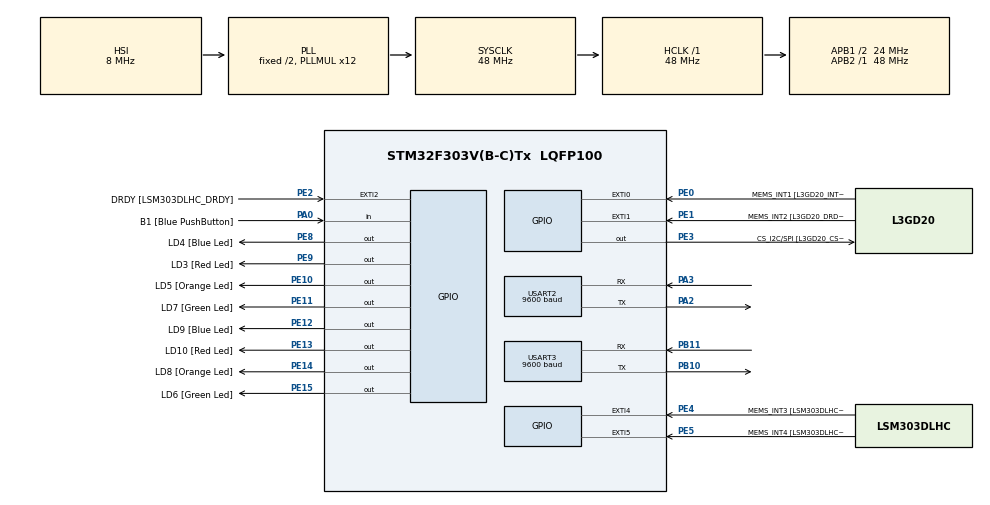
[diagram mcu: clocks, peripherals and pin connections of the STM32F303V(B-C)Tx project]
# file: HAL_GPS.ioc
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Mcu.Family=STM32F3
Mcu.Name=STM32F303V(B-C)Tx
Mcu.Package=LQFP100
NVIC.PriorityGroup=NVIC_PRIORITYGROUP_4
NVIC.USART2_IRQn=true\:2\:0\:true\:false\:true\:true\:true\:true
NVIC.USART3_IRQn=true\:2\:0\:true\:false\:true\:true\:true\:true
PA0.GPIO_Label=B1 [Blue PushButton]
PA0.GPIO_Mode=GPIO_MODE_INPUT
PA0.GPIO_PuPd=GPIO_NOPULL
PA0.Signal=GPIO_Input
PA11.GPIO_Label=DM
PA11.Signal=USB_DM
PA12.GPIO_Label=DP
PA12.Signal=USB_DP
PA13.GPIO_Label=SWDIO
PA13.Signal=SYS_JTMS-SWDIO
PA14.GPIO_Label=SWCLK
PA14.Signal=SYS_JTCK-SWCLK
PA2.Mode=Asynchronous
PA2.Signal=USART2_TX
PA3.Mode=Asynchronous
PA3.Signal=USART2_RX
PA5.GPIO_Label=SPI1_SCK [L3GD20_SCL/SPC]
PA5.GPIO_Mode=GPIO_MODE_AF_PP
PA5.GPIO_PuPd=GPIO_NOPULL
PA5.GPIO_Speed=GPIO_SPEED_FREQ_LOW
PA5.Signal=SPI1_SCK
PA6.GPIO_Label=SPI1_MISO [L3GD20_SA0/SDO]
PA6.GPIO_Mode=GPIO_MODE_AF_PP
PA6.GPIO_PuPd=GPIO_NOPULL
PA6.GPIO_Speed=GPIO_SPEED_FREQ_LOW
PA6.Signal=SPI1_MISO
PA7.GPIO_Label=SPI1_MISO [L3GD20_SDA/SDI/SDO]
PA7.GPIO_Mode=GPIO_MODE_AF_PP
PA7.GPIO_PuPd=GPIO_NOPULL
PA7.GPIO_Speed=GPIO_SPEED_FREQ_LOW
PA7.Signal=SPI1_MOSI
PB10.GPIO_PuPd=GPIO_PULLDOWN
PB10.Mode=Asynchronous
PB10.Signal=USART3_TX
PB11.GPIO_PuPd=GPIO_PULLDOWN
PB11.Mode=Asynchronous
PB11.Signal=USART3_RX
PB3.GPIO_Label=SWO
PB3.Signal=SYS_JTDO-TRACESWO
PB6.GPIO_FM6=__NULL
PB6.GPIO_Label=I2C1_SCL [LSM303DLHC_SCL]
PB6.GPIO_Mode=GPIO_MODE_AF_OD
PB6.GPIO_PuPd=GPIO_NOPULL
PB6.GPIO_Speed=GPIO_SPEED_FREQ_LOW
PB6.Signal=I2C1_SCL
PB7.GPIO_FM7=__NULL
PB7.GPIO_Label=I2C1_SDA [LSM303DLHC_SDA]
PB7.GPIO_Mode=GPIO_MODE_AF_OD
PB7.GPIO_PuPd=GPIO_NOPULL
PB7.GPIO_Speed=GPIO_SPEED_FREQ_LOW
PB7.Signal=I2C1_SDA
PC14-OSC32_IN.GPIO_Label=OSC32_IN
PC14-OSC32_IN.Signal=RCC_OSC32_IN
PC15-OSC32_OUT.GPIO_Label=OSC32_OUT
PC15-OSC32_OUT.Signal=RCC_OSC32_OUT
PE0.GPIO_Label=MEMS_INT1 [L3GD20_INT1]
PE0.GPIO_ModeDefaultEXTI=GPIO_MODE_EVT_RISING
PE0.GPIO_PuPd=GPIO_NOPULL
PE0.Signal=GPXTI0
PE1.GPIO_Label=MEMS_INT2 [L3GD20_DRDY/INT2]
PE1.GPIO_ModeDefaultEXTI=GPIO_MODE_EVT_RISING
PE1.GPIO_PuPd=GPIO_NOPULL
PE1.Signal=GPXTI1
PE10.GPIO_Label=LD5 [Orange Led]
PE10.GPIO_ModeDefaultOutputPP=GPIO_MODE_OUTPUT_PP
PE10.GPIO_PuPd=GPIO_NOPULL
PE10.GPIO_Speed=GPIO_SPEED_FREQ_LOW
PE10.Signal=GPIO_Output
PE11.GPIO_Label=LD7 [Green Led]
PE11.GPIO_ModeDefaultOutputPP=GPIO_MODE_OUTPUT_PP
PE11.GPIO_PuPd=GPIO_NOPULL
PE11.GPIO_Speed=GPIO_SPEED_FREQ_LOW
PE11.Signal=GPIO_Output
PE12.GPIO_Label=LD9 [Blue Led]
PE12.GPIO_ModeDefaultOutputPP=GPIO_MODE_OUTPUT_PP
PE12.GPIO_PuPd=GPIO_NOPULL
PE12.GPIO_Speed=GPIO_SPEED_FREQ_LOW
PE12.Signal=GPIO_Output
PE13.GPIO_Label=LD10 [Red Led]
PE13.GPIO_ModeDefaultOutputPP=GPIO_MODE_OUTPUT_PP
PE13.GPIO_PuPd=GPIO_NOPULL
PE13.GPIO_Speed=GPIO_SPEED_FREQ_LOW
PE13.Signal=GPIO_Output
PE14.GPIO_Label=LD8 [Orange Led]
PE14.GPIO_ModeDefaultOutputPP=GPIO_MODE_OUTPUT_PP
PE14.GPIO_PuPd=GPIO_NOPULL
PE14.GPIO_Speed=GPIO_SPEED_FREQ_LOW
PE14.Signal=GPIO_Output
PE15.GPIO_Label=LD6 [Green Led]
PE15.GPIO_ModeDefaultOutputPP=GPIO_MODE_OUTPUT_PP
PE15.GPIO_PuPd=GPIO_NOPULL
PE15.GPIO_Speed=GPIO_SPEED_FREQ_LOW
PE15.Signal=GPIO_Output
PE2.GPIO_Label=DRDY [LSM303DLHC_DRDY]
PE2.GPIO_ModeDefaultEXTI=GPIO_MODE_EVT_RISING
PE2.GPIO_PuPd=GPIO_NOPULL
PE2.Signal=GPXTI2
PE3.GPIO_Label=CS_I2C/SPI [L3GD20_CS_I2C/SPI]
PE3.GPIO_ModeDefaultOutputPP=GPIO_MODE_OUTPUT_PP
PE3.GPIO_PuPd=GPIO_NOPULL
PE3.GPIO_Speed=GPIO_SPEED_FREQ_LOW
PE3.Signal=GPIO_Output
PE4.GPIO_Label=MEMS_INT3 [LSM303DLHC_INT1]
PE4.GPIO_ModeDefaultEXTI=GPIO_MODE_EVT_RISING
PE4.GPIO_PuPd=GPIO_NOPULL
PE4.Signal=GPXTI4
PE5.GPIO_Label=MEMS_INT4 [LSM303DLHC_INT2]
PE5.GPIO_ModeDefaultEXTI=GPIO_MODE_EVT_RISING
PE5.GPIO_PuPd=GPIO_NOPULL
PE5.Signal=GPXTI5
PE8.GPIO_Label=LD4 [Blue Led]
PE8.GPIO_ModeDefaultOutputPP=GPIO_MODE_OUTPUT_PP
PE8.GPIO_PuPd=GPIO_NOPULL
PE8.GPIO_Speed=GPIO_SPEED_FREQ_LOW
PE8.Signal=GPIO_Output
PE9.GPIO_Label=LD3 [Red Led]
PE9.GPIO_ModeDefaultOutputPP=GPIO_MODE_OUTPUT_PP
PE9.GPIO_PuPd=GPIO_NOPULL
PE9.GPIO_Speed=GPIO_SPEED_FREQ_LOW
PE9.Signal=GPIO_Output
PF0-OSC_IN.GPIO_Label=OSC_IN
PF0-OSC_IN.Signal=RCC_OSC_IN
PF1-OSC_OUT.GPIO_Label=OSC_OUT
PF1-OSC_OUT.Signal=RCC_OSC_OUT
ProjectManager.HeapSize=0x200
ProjectManager.StackSize=0x400
ProjectManager.TargetToolchain=STM32CubeIDE
RCC.AHBFreq_Value=48000000
RCC.APB1CLKDivider=RCC_HCLK_DIV2
RCC.APB1Freq_Value=24000000
RCC.APB1TimFreq_Value=48000000
RCC.APB2Freq_Value=48000000
RCC.APB2TimFreq_Value=48000000
RCC.CortexFreq_Value=48000000
RCC.HCLKFreq_Value=48000000
RCC.HSE_VALUE=8000000
RCC.HSI_VALUE=8000000
RCC.LSE_VALUE=32768
RCC.PLLMUL=RCC_PLL_MUL12
RCC.SYSCLKFreq_VALUE=48000000
RCC.SYSCLKSourceVirtual=RCC_SYSCLKSOURCE_PLLCLK
RCC.USBFreq_Value=48000000
USART2.BaudRate=9600
USART2.VirtualMode-Asynchronous=VM_ASYNC
USART3.BaudRate=9600
USART3.VirtualMode-Asynchronous=VM_ASYNC
board=STM32F3DISCOVERY

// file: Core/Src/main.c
/* USER CODE BEGIN Header */
/**
  ******************************************************************************
  * @file           : main.c
  * @brief          : Main program body
  ******************************************************************************
  * @attention
  *
  * Copyright (c) 2023 STMicroelectronics.
  * All rights reserved.
  *
  * This software is licensed under terms that can be found in the LICENSE file
  * in the root directory of this software component.
  * If no LICENSE file comes with this software, it is provided AS-IS.
  *
  ******************************************************************************
  */
/* USER CODE END Header */
#include "main.h"

/* USER CODE BEGIN PD */

// SET UP TIMEZONE AND TURN ON INTERNAL PRINTING
#define DEBUG_PRINT
#define TIMEZONE 1

/* USER CODE END PD */

UART_HandleTypeDef huart2;
UART_HandleTypeDef huart3;

/* USER CODE BEGIN PV */
uint8_t buffor_USART2 [5];
uint8_t buffor_USART3 [10];
uint8_t rec_buff[500];

volatile GPS_Position_Data_t position;

/* USER CODE END PV */

void SystemClock_Config(void);
static void MX_GPIO_Init(void);
static void MX_USART3_UART_Init(void);
static void MX_USART2_UART_Init(void);
/* USER CODE BEGIN PFP */
void HAL_UART_RxCpltCallback(UART_HandleTypeDef *huart);
/* USER CODE END PFP */

int main(void)
{

  /* MCU Configuration--------------------------------------------------------*/

  /* Reset of all peripherals, Initializes the Flash interface and the Systick. */
  HAL_Init();

  /* Configure the system clock */
  SystemClock_Config();

  /* Initialize all configured peripherals */
  MX_GPIO_Init();
  MX_USART3_UART_Init();
  MX_USART2_UART_Init();
  /* USER CODE BEGIN 2 */

  /*
   * USART2 = communication with PERIPHERAL
   * PA3 = RX
   * PA2 = TX
   *
   * USART3 = communication with USER
   * PB11 = RX
   * PB10 = TX
   */

  // IT every char received
  HAL_UART_Receive_IT(&huart3, buffor_USART3, 1);
  HAL_UART_Receive_IT(&huart2, buffor_USART2, 1);

  // turn ON working LED and send hello text
  HAL_GPIO_WritePin(GPIOE, GPIO_PIN_8, ENABLE);
  const char * welcome_text = "\nProgram is working\n";
  HAL_UART_Transmit(&huart3, (uint8_t*)welcome_text, strlen(welcome_text), 100);

  /* USER CODE END 2 */

  /* Infinite loop */
  while (1)
  {
	  if(position.Latitude_deg != 0)
	  {

#if defined(DEBUG_PRINT)
		printf("Position: %d.%ld", position.Latitude_deg, position.Latitude_minINdegrees);
		printf(" %d.%ld", position.Longtitude_deg, position.Longtitude_minINdegrees);
		printf(" TIME: %02d:%02d:%02d\n", (position.Time.hours + TIMEZONE), position.Time.minutes, position.Time.seconds);
#endif
		HAL_GPIO_TogglePin(GPIOE, GPIO_PIN_10);
		HAL_GPIO_TogglePin(GPIOE, GPIO_PIN_11);
		position.Latitude_deg = 0;
	  }
  }
}

void SystemClock_Config(void)
{
  RCC_OscInitTypeDef RCC_OscInitStruct = {0};
  RCC_ClkInitTypeDef RCC_ClkInitStruct = {0};
  RCC_PeriphCLKInitTypeDef PeriphClkInit = {0};

  /** Initializes the RCC Oscillators according to the specified parameters
  * in the RCC_OscInitTypeDef structure.
  */
  RCC_OscInitStruct.OscillatorType = RCC_OSCILLATORTYPE_HSI;
  RCC_OscInitStruct.HSIState = RCC_HSI_ON;
  RCC_OscInitStruct.HSICalibrationValue = RCC_HSICALIBRATION_DEFAULT;
  RCC_OscInitStruct.PLL.PLLState = RCC_PLL_ON;
  RCC_OscInitStruct.PLL.PLLSource = RCC_PLLSOURCE_HSI;
  RCC_OscInitStruct.PLL.PLLMUL = RCC_PLL_MUL12;
  if (HAL_RCC_OscConfig(&RCC_OscInitStruct) != HAL_OK)
  {
    Error_Handler();
  }

  /** Initializes the CPU, AHB and APB buses clocks
  */
  RCC_ClkInitStruct.ClockType = RCC_CLOCKTYPE_HCLK|RCC_CLOCKTYPE_SYSCLK
                              |RCC_CLOCKTYPE_PCLK1|RCC_CLOCKTYPE_PCLK2;
  RCC_ClkInitStruct.SYSCLKSource = RCC_SYSCLKSOURCE_PLLCLK;
  RCC_ClkInitStruct.AHBCLKDivider = RCC_SYSCLK_DIV1;
  RCC_ClkInitStruct.APB1CLKDivider = RCC_HCLK_DIV2;
  RCC_ClkInitStruct.APB2CLKDivider = RCC_HCLK_DIV1;

  if (HAL_RCC_ClockConfig(&RCC_ClkInitStruct, FLASH_LATENCY_1) != HAL_OK)
  {
    Error_Handler();
  }
  PeriphClkInit.PeriphClockSelection = RCC_PERIPHCLK_USART2|RCC_PERIPHCLK_USART3;
  PeriphClkInit.Usart2ClockSelection = RCC_USART2CLKSOURCE_PCLK1;
  PeriphClkInit.Usart3ClockSelection = RCC_USART3CLKSOURCE_PCLK1;
  if (HAL_RCCEx_PeriphCLKConfig(&PeriphClkInit) != HAL_OK)
  {
    Error_Handler();
  }
}

static void MX_USART2_UART_Init(void)
{

  huart2.Instance = USART2;
  huart2.Init.BaudRate = 9600;
  huart2.Init.WordLength = UART_WORDLENGTH_8B;
  huart2.Init.StopBits = UART_STOPBITS_1;
  huart2.Init.Parity = UART_PARITY_NONE;
  huart2.Init.Mode = UART_MODE_TX_RX;
  huart2.Init.HwFlowCtl = UART_HWCONTROL_NONE;
  huart2.Init.OverSampling = UART_OVERSAMPLING_16;
  huart2.Init.OneBitSampling = UART_ONE_BIT_SAMPLE_DISABLE;
  huart2.AdvancedInit.AdvFeatureInit = UART_ADVFEATURE_NO_INIT;
  if (HAL_UART_Init(&huart2) != HAL_OK)
  {
    Error_Handler();
  }

}

static void MX_USART3_UART_Init(void)
{

  huart3.Instance = USART3;
  huart3.Init.BaudRate = 9600;
  huart3.Init.WordLength = UART_WORDLENGTH_8B;
  huart3.Init.StopBits = UART_STOPBITS_1;
  huart3.Init.Parity = UART_PARITY_NONE;
  huart3.Init.Mode = UART_MODE_TX_RX;
  huart3.Init.HwFlowCtl = UART_HWCONTROL_NONE;
  huart3.Init.OverSampling = UART_OVERSAMPLING_16;
  huart3.Init.OneBitSampling = UART_ONE_BIT_SAMPLE_DISABLE;
  huart3.AdvancedInit.AdvFeatureInit = UART_ADVFEATURE_NO_INIT;
  if (HAL_UART_Init(&huart3) != HAL_OK)
  {
    Error_Handler();
  }

}

static void MX_GPIO_Init(void)
{
  GPIO_InitTypeDef GPIO_InitStruct = {0};

  /* GPIO Ports Clock Enable */
  __HAL_RCC_GPIOE_CLK_ENABLE();
  __HAL_RCC_GPIOC_CLK_ENABLE();
  __HAL_RCC_GPIOF_CLK_ENABLE();
  __HAL_RCC_GPIOA_CLK_ENABLE();
  __HAL_RCC_GPIOB_CLK_ENABLE();

  /*Configure GPIO pin Output Level */
  HAL_GPIO_WritePin(GPIOE, CS_I2C_SPI_Pin|LD4_Pin|LD3_Pin|LD5_Pin
                          |LD7_Pin|LD9_Pin|LD10_Pin|LD8_Pin
                          |LD6_Pin, GPIO_PIN_RESET);

  /*Configure GPIO pins : DRDY_Pin MEMS_INT3_Pin MEMS_INT4_Pin MEMS_INT1_Pin
                           MEMS_INT2_Pin */
  GPIO_InitStruct.Pin = DRDY_Pin|MEMS_INT3_Pin|MEMS_INT4_Pin|MEMS_INT1_Pin
                          |MEMS_INT2_Pin;
  GPIO_InitStruct.Mode = GPIO_MODE_EVT_RISING;
  GPIO_InitStruct.Pull = GPIO_NOPULL;
  HAL_GPIO_Init(GPIOE, &GPIO_InitStruct);

  /*Configure GPIO pins : CS_I2C_SPI_Pin LD4_Pin LD3_Pin LD5_Pin
                           LD7_Pin LD9_Pin LD10_Pin LD8_Pin
                           LD6_Pin */
  GPIO_InitStruct.Pin = CS_I2C_SPI_Pin|LD4_Pin|LD3_Pin|LD5_Pin
                          |LD7_Pin|LD9_Pin|LD10_Pin|LD8_Pin
                          |LD6_Pin;
  GPIO_InitStruct.Mode = GPIO_MODE_OUTPUT_PP;
  GPIO_InitStruct.Pull = GPIO_NOPULL;
  GPIO_InitStruct.Speed = GPIO_SPEED_FREQ_LOW;
  HAL_GPIO_Init(GPIOE, &GPIO_InitStruct);

  /*Configure GPIO pin : B1_Pin */
  GPIO_InitStruct.Pin = B1_Pin;
  GPIO_InitStruct.Mode = GPIO_MODE_INPUT;
  GPIO_InitStruct.Pull = GPIO_NOPULL;
  HAL_GPIO_Init(B1_GPIO_Port, &GPIO_InitStruct);

  /*Configure GPIO pins : SPI1_SCK_Pin SPI1_MISO_Pin SPI1_MISOA7_Pin */
  GPIO_InitStruct.Pin = SPI1_SCK_Pin|SPI1_MISO_Pin|SPI1_MISOA7_Pin;
  GPIO_InitStruct.Mode = GPIO_MODE_AF_PP;
  GPIO_InitStruct.Pull = GPIO_NOPULL;
  GPIO_InitStruct.Speed = GPIO_SPEED_FREQ_LOW;
  GPIO_InitStruct.Alternate = GPIO_AF5_SPI1;
  HAL_GPIO_Init(GPIOA, &GPIO_InitStruct);

  /*Configure GPIO pins : DM_Pin DP_Pin */
  GPIO_InitStruct.Pin = DM_Pin|DP_Pin;
  GPIO_InitStruct.Mode = GPIO_MODE_AF_PP;
  GPIO_InitStruct.Pull = GPIO_NOPULL;
  GPIO_InitStruct.Speed = GPIO_SPEED_FREQ_HIGH;
  GPIO_InitStruct.Alternate = GPIO_AF14_USB;
  HAL_GPIO_Init(GPIOA, &GPIO_InitStruct);

  /*Configure GPIO pins : I2C1_SCL_Pin I2C1_SDA_Pin */
  GPIO_InitStruct.Pin = I2C1_SCL_Pin|I2C1_SDA_Pin;
  GPIO_InitStruct.Mode = GPIO_MODE_AF_OD;
  GPIO_InitStruct.Pull = GPIO_NOPULL;
  GPIO_InitStruct.Speed = GPIO_SPEED_FREQ_LOW;
  GPIO_InitStruct.Alternate = GPIO_AF4_I2C1;
  HAL_GPIO_Init(GPIOB, &GPIO_InitStruct);

}

/* USER CODE BEGIN 4 */
void HAL_UART_RxCpltCallback(UART_HandleTypeDef *huart)
{
	static uint8_t rec_status = 0;
	/////////////////////////////////// bridge between UART2 <====> UART3
	if(huart == &huart3)
	{
		HAL_GPIO_TogglePin(GPIOE, GPIO_PIN_14);
		HAL_UART_Transmit(&huart2, buffor_USART3, 1, 0); // 0 delay - very important!!

		HAL_UART_Receive_IT(&huart3, buffor_USART3, 1);

	}
	if(huart == &huart2)
	{

		//checking RXNE -- deleted
		//if(!(USART2->ISR & (1 << 5)))
		//{
		HAL_GPIO_TogglePin(GPIOE, GPIO_PIN_13);
		HAL_UART_Transmit(&huart3, buffor_USART2, 1, 0); // 0 delay - very important!!
		//}

		//IF FUNCTION WILL BE RECEIVED
		if(rec_status)
		{
			rec_buff[rec_status-1] = buffor_USART2[0];
			if(rec_buff[rec_status-1] == '\n')
			{
				position = GPS_get_position(rec_buff, rec_status-1);
				//Flush buffor
				for(int i = 0; i < 100; i++)
				{
					rec_buff[i] = '\0';
				}

				rec_status = 0;
			}else{
				rec_status++;
			}

		}
		//Start of the phrase, start recordint
		if(buffor_USART2[0] == '$'){
			rec_status = 1;
		}

		HAL_UART_Receive_IT(&huart2, buffor_USART2, 1);

	}
	///////////////////////////////////////////////////////////////////////////
}

/* USER CODE END 4 */

void Error_Handler(void)
{
  __disable_irq();
  while (1)
  {
  }
}
